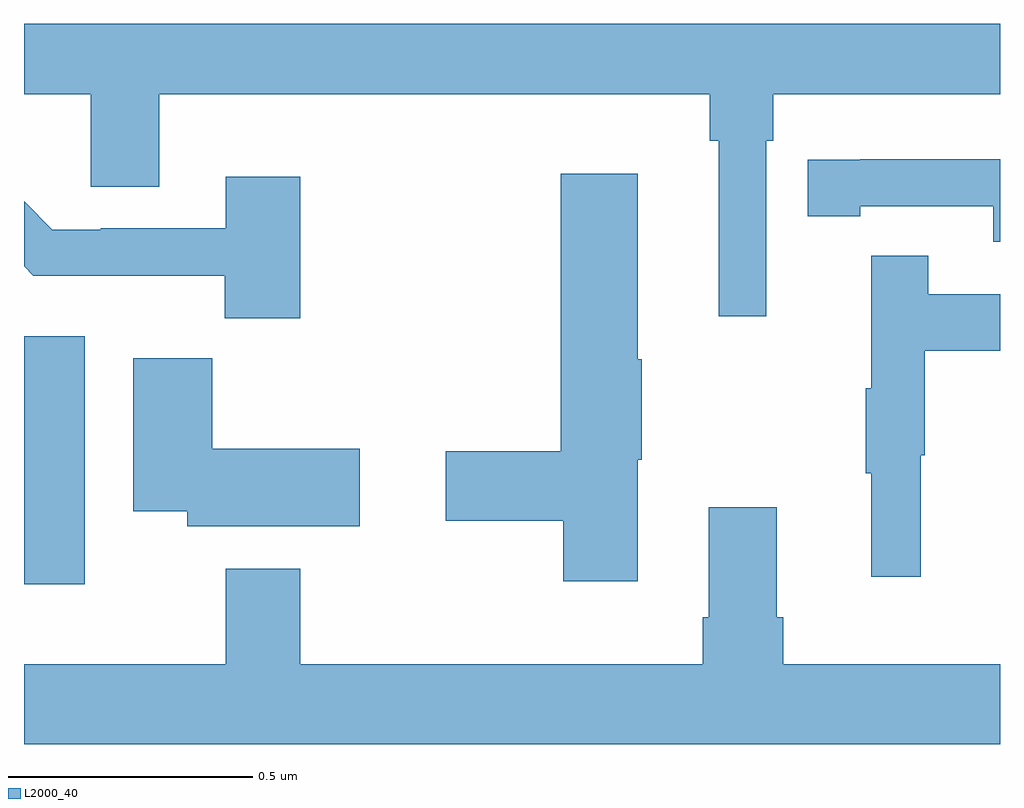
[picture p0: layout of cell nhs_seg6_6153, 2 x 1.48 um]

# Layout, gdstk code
import gdstk
lib = gdstk.Library(unit=1e-6, precision=1e-09)
def R(c, l, rs):  # rectangles x0, y0, x1, y1
    for r in rs: c.add(gdstk.rectangle(r[:2], r[2:], *l))
def P(c, l, *ps):  # polygons
    for p in ps: c.add(gdstk.Polygon(p, *l))
L2000_40 = (2000, 40)

nhs_seg6_6153 = lib.new_cell('nhs_seg6_6153')
R(nhs_seg6_6153, L2000_40, [(192,926.352,192.124,926.86)])
P(nhs_seg6_6153, L2000_40, [(193.521,927.26),(193.535,927.26),(193.535,927.356),(194,927.356),(194,927.5),(192,927.5),(192,927.356),(192.137,927.356),(192.137,927.166),(192.277,927.166),(192.277,927.356),(193.405,927.356),(193.405,927.26),(193.424,927.26),(193.424,926.901),(193.521,926.901)],
  [(194,927.223),(193.714,927.223),(193.714,927.222),(193.606,927.222),(193.606,927.106),(193.714,927.106),(193.714,927.126),(193.986,927.126),(193.986,927.054),(194,927.054)],
  [(193.258,926.607),(193.266,926.607),(193.266,926.813),(193.258,926.813),(193.258,927.193),(193.1,927.193),(193.1,926.624),(192.864,926.624),(192.864,926.482),(193.105,926.482),(193.105,926.358),(193.258,926.358)],
  [(192.566,927.187),(192.413,927.187),(192.413,927.081),(192.157,927.081),(192.157,927.078),(192.058,927.078),(192,927.136),(192,927.003),(192.019,926.984),(192.411,926.984),(192.411,926.897),(192.566,926.897)],
  [(193.838,926.616),(193.846,926.616),(193.846,926.83),(194,926.83),(194,926.946),(193.853,926.946),(193.853,927.025),(193.736,927.025),(193.736,926.753),(193.725,926.753),(193.725,926.579),(193.736,926.579),(193.736,926.367),(193.838,926.367)],
  [(192.688,926.629),(192.386,926.629),(192.386,926.815),(192.224,926.815),(192.224,926.501),(192.335,926.501),(192.335,926.471),(192.688,926.471)],
  [(194,926.188),(193.556,926.188),(193.556,926.284),(193.543,926.284),(193.543,926.509),(193.403,926.509),(193.403,926.284),(193.391,926.284),(193.391,926.188),(192.566,926.188),(192.566,926.383),(192.413,926.383),(192.413,926.188),(192,926.188),(192,926.024),(194,926.024)])

lib.write_gds('nhs_seg6_6153.gds')
